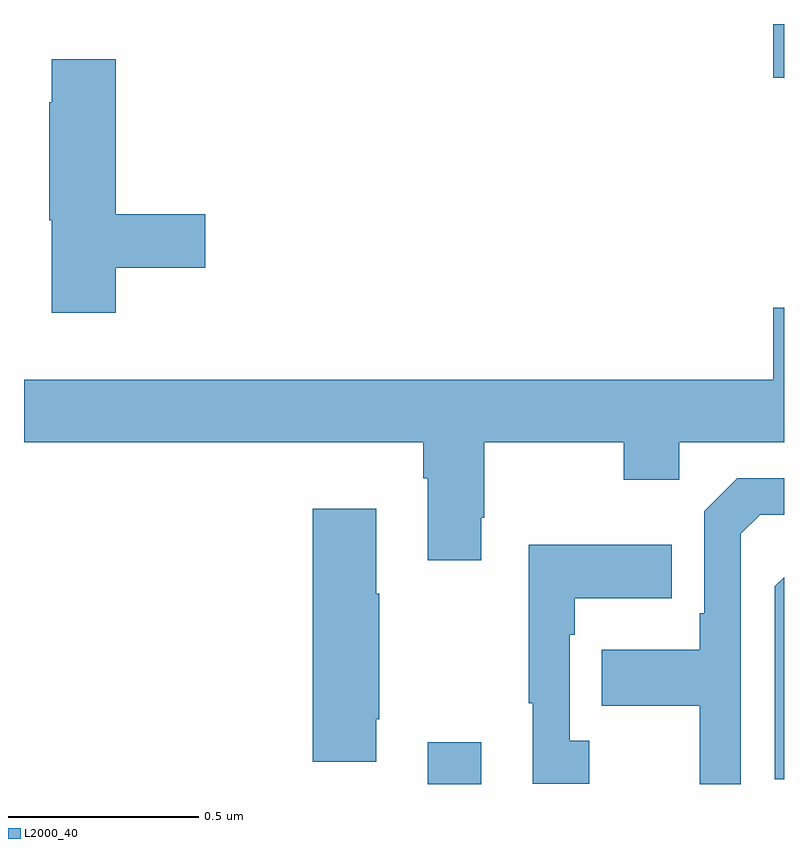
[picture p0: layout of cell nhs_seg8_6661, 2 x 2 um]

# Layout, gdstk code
import gdstk
lib = gdstk.Library(unit=1e-6, precision=1e-09)
def R(c, l, rs):  # rectangles x0, y0, x1, y1
    for r in rs: c.add(gdstk.rectangle(r[:2], r[2:], *l))
def P(c, l, *ps):  # polygons
    for p in ps: c.add(gdstk.Polygon(p, *l))
L2000_40 = (2000, 40)

nhs_seg8_6661 = lib.new_cell('nhs_seg8_6661')
R(nhs_seg8_6661, L2000_40, [(200.063,1148.9,200.203,1149.01), (200.972,1150.758,201,1150.9)])
P(nhs_seg8_6661, L2000_40, [(199.241,1150.258),(199.477,1150.258),(199.477,1150.4),(199.241,1150.4),(199.241,1150.807),(199.073,1150.807),(199.073,1150.694),(199.066,1150.694),(199.066,1150.383),(199.073,1150.383),(199.073,1150.14),(199.241,1150.14)],
  [(200.203,1149.601),(200.211,1149.601),(200.211,1149.8),(200.578,1149.8),(200.578,1149.701),(200.724,1149.701),(200.724,1149.8),(201,1149.8),(201,1150.153),(200.972,1150.153),(200.972,1149.964),(199,1149.964),(199,1149.8),(200.051,1149.8),(200.051,1149.704),(200.063,1149.704),(200.063,1149.489),(200.203,1149.489)],
  [(200.886,1149.558),(200.937,1149.609),(201,1149.609),(201,1149.705),(200.877,1149.705),(200.79,1149.618),(200.79,1149.349),(200.778,1149.349),(200.778,1149.253),(200.521,1149.253),(200.521,1149.106),(200.778,1149.106),(200.778,1148.9),(200.886,1148.9)],
  [(199.927,1149.07),(199.935,1149.07),(199.935,1149.401),(199.927,1149.401),(199.927,1149.625),(199.76,1149.625),(199.76,1148.958),(199.927,1148.958)],
  [(200.488,1149.014),(200.436,1149.014),(200.436,1149.293),(200.449,1149.293),(200.449,1149.389),(200.705,1149.389),(200.705,1149.529),(200.328,1149.529),(200.328,1149.113),(200.339,1149.113),(200.339,1148.901),(200.488,1148.901)],
  [(201,1149.444),(200.976,1149.42),(200.976,1148.913),(201,1148.913)])

lib.write_gds('nhs_seg8_6661.gds')
